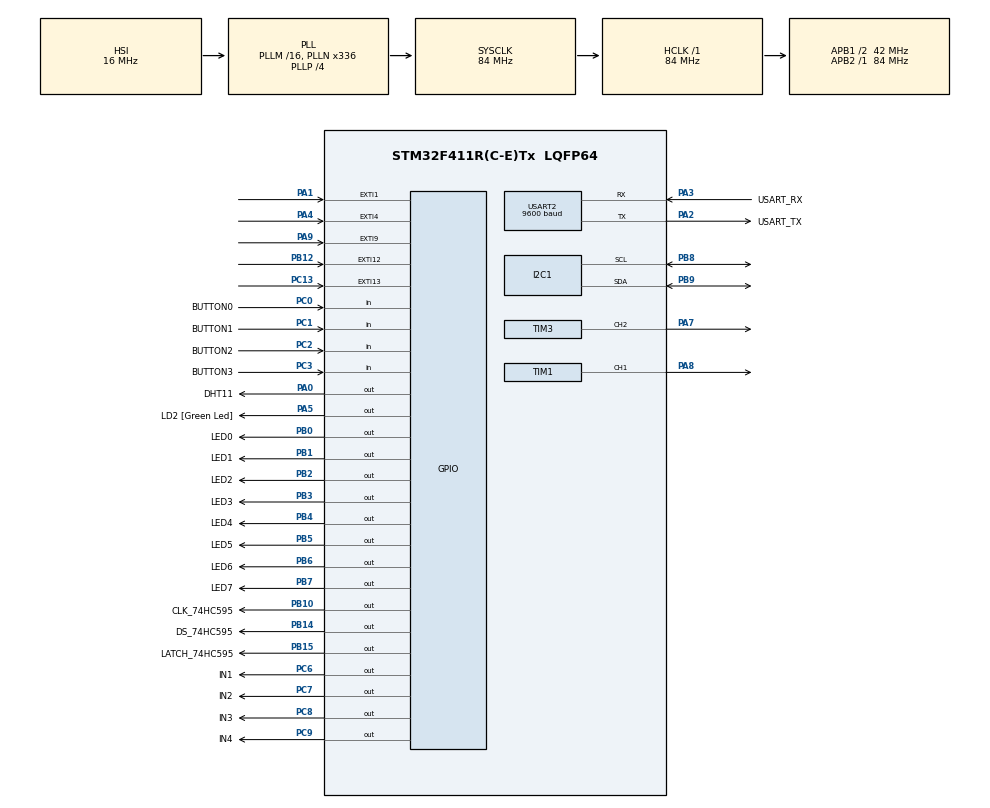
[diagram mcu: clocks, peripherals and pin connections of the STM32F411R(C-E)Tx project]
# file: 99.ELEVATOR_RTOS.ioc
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FREERTOS.Mutexes01=myMutex01,Dynamic,NULL
FREERTOS.Tasks01=defaultTask,24,128,StartDefaultTask,Default,NULL,Dynamic,NULL,NULL;myTask01,8,128,StartTask01,Default,NULL,Dynamic,NULL,NULL;myTask02,8,128,StartTask02,Default,NULL,Dynamic,NULL,NULL
FREERTOS.configUSE_NEWLIB_REENTRANT=1
Mcu.Family=STM32F4
Mcu.Name=STM32F411R(C-E)Tx
Mcu.Package=LQFP64
NVIC.EXTI15_10_IRQn=true\:5\:0\:false\:false\:true\:true\:true\:true
NVIC.EXTI1_IRQn=true\:5\:0\:false\:false\:true\:true\:true\:true
NVIC.EXTI4_IRQn=true\:5\:0\:false\:false\:true\:true\:true\:true
NVIC.EXTI9_5_IRQn=true\:5\:0\:false\:false\:true\:true\:true\:true
NVIC.PriorityGroup=NVIC_PRIORITYGROUP_4
NVIC.TIM1_TRG_COM_TIM11_IRQn=true\:5\:0\:false\:false\:true\:false\:false\:true
NVIC.TIM1_UP_TIM10_IRQn=true\:5\:0\:false\:false\:true\:true\:true\:true
NVIC.TIM3_IRQn=true\:5\:0\:false\:false\:true\:true\:true\:true
NVIC.TimeBase=TIM1_TRG_COM_TIM11_IRQn
NVIC.TimeBaseIP=TIM11
NVIC.USART2_IRQn=true\:5\:0\:false\:false\:true\:true\:true\:true
PA0-WKUP.GPIO_Label=DHT11
PA0-WKUP.Signal=GPIO_Output
PA1.Signal=GPXTI1
PA13.GPIO_Label=TMS
PA13.Mode=Serial_Wire
PA13.Signal=SYS_JTMS-SWDIO
PA14.GPIO_Label=TCK
PA14.Mode=Serial_Wire
PA14.Signal=SYS_JTCK-SWCLK
PA2.GPIO_Label=USART_TX
PA2.Mode=Asynchronous
PA2.Signal=USART2_TX
PA3.GPIO_Label=USART_RX
PA3.Mode=Asynchronous
PA3.Signal=USART2_RX
PA4.Signal=GPXTI4
PA5.GPIO_Label=LD2 [Green Led]
PA5.Signal=GPIO_Output
PA7.Signal=S_TIM3_CH2
PA8.Signal=S_TIM1_CH1
PA9.Signal=GPXTI9
PB0.GPIO_Label=LED0
PB0.Signal=GPIO_Output
PB1.GPIO_Label=LED1
PB1.Signal=GPIO_Output
PB10.GPIO_Label=CLK_74HC595
PB10.Signal=GPIO_Output
PB12.Signal=GPXTI12
PB14.GPIO_Label=DS_74HC595
PB14.Signal=GPIO_Output
PB15.GPIO_Label=LATCH_74HC595
PB15.Signal=GPIO_Output
PB2.GPIO_Label=LED2
PB2.Signal=GPIO_Output
PB3.GPIO_Label=LED3
PB3.Signal=GPIO_Output
PB4.GPIO_Label=LED4
PB4.Signal=GPIO_Output
PB5.GPIO_Label=LED5
PB5.Signal=GPIO_Output
PB6.GPIO_Label=LED6
PB6.Signal=GPIO_Output
PB7.GPIO_Label=LED7
PB7.Signal=GPIO_Output
PB8.Mode=I2C
PB8.Signal=I2C1_SCL
PB9.Mode=I2C
PB9.Signal=I2C1_SDA
PC0.GPIO_Label=BUTTON0
PC0.Signal=GPIO_Input
PC1.GPIO_Label=BUTTON1
PC1.Signal=GPIO_Input
PC13-ANTI_TAMP.GPIO_ModeDefaultEXTI=GPIO_MODE_IT_FALLING
PC13-ANTI_TAMP.Signal=GPXTI13
PC14-OSC32_IN.Mode=LSE-External-Oscillator
PC14-OSC32_IN.Signal=RCC_OSC32_IN
PC15-OSC32_OUT.Mode=LSE-External-Oscillator
PC15-OSC32_OUT.Signal=RCC_OSC32_OUT
PC2.GPIO_Label=BUTTON2
PC2.Signal=GPIO_Input
PC3.GPIO_Label=BUTTON3
PC3.Signal=GPIO_Input
PC6.GPIO_Label=IN1
PC6.Signal=GPIO_Output
PC7.GPIO_Label=IN2
PC7.Signal=GPIO_Output
PC8.GPIO_Label=IN3
PC8.Signal=GPIO_Output
PC9.GPIO_Label=IN4
PC9.Signal=GPIO_Output
PH0\ -\ OSC_IN.Mode=HSE-External-Clock-Source
PH0\ -\ OSC_IN.Signal=RCC_OSC_IN
PH1\ -\ OSC_OUT.Mode=HSE-External-Clock-Source
PH1\ -\ OSC_OUT.Signal=RCC_OSC_OUT
ProjectManager.HeapSize=0x200
ProjectManager.StackSize=0x400
ProjectManager.TargetToolchain=STM32CubeIDE
RCC.48MHZClocksFreq_Value=84000000
RCC.AHBFreq_Value=84000000
RCC.APB1CLKDivider=RCC_HCLK_DIV2
RCC.APB1Freq_Value=42000000
RCC.APB1TimFreq_Value=84000000
RCC.APB2Freq_Value=84000000
RCC.APB2TimFreq_Value=84000000
RCC.CortexFreq_Value=84000000
RCC.FLatency-AdvancedSettings=FLASH_LATENCY_2
RCC.HCLKFreq_Value=84000000
RCC.HSE_VALUE=8000000
RCC.HSI_VALUE=16000000
RCC.PLLN=336
RCC.PLLP=RCC_PLLP_DIV4
RCC.SYSCLKFreq_VALUE=84000000
RCC.SYSCLKSource=RCC_SYSCLKSOURCE_PLLCLK
RCC.VCOOutputFreq_Value=336000000
RTC.Date=8
RTC.Hours=14
RTC.Minutes=37
RTC.Month=RTC_MONTH_OCTOBER
RTC.WeekDay=RTC_WEEKDAY_TUESDAY
RTC.Year=24
SH.S_TIM1_CH1.0=TIM1_CH1,PWM Generation1 CH1
SH.S_TIM3_CH2.0=TIM3_CH2,PWM Generation2 CH2
TIM1.Channel-PWM\ Generation1\ CH1=TIM_CHANNEL_1
TIM1.Period=400-1
TIM1.Prescaler=52.5-1
TIM1.Pulse-PWM\ Generation1\ CH1=200-1
TIM10.Period=1000-1
TIM10.Prescaler=84-1
TIM2.Period=4294967295
TIM2.Prescaler=84-1
TIM3.Channel-PWM\ Generation2\ CH2=TIM_CHANNEL_2
TIM3.Period=1000-1
TIM3.Prescaler=1680-1
USART2.BaudRate=9600
USART2.VirtualMode=VM_ASYNC
VP_FREERTOS_VS_CMSIS_V2.Mode=CMSIS_V2
VP_RTC_VS_RTC_Activate.Mode=RTC_Enabled
VP_RTC_VS_RTC_Calendar.Mode=RTC_Calendar
VP_SYS_VS_tim11.Mode=TIM11
VP_TIM10_VS_ClockSourceINT.Mode=Enable_Timer
VP_TIM1_VS_ClockSourceINT.Mode=Internal
VP_TIM2_VS_ClockSourceINT.Mode=Internal
VP_TIM3_VS_ClockSourceINT.Mode=Internal
board=NUCLEO-F411RE

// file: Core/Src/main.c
/* USER CODE BEGIN Header */
/**
  ******************************************************************************
  * @file           : main.c
  * @brief          : Main program body
  ******************************************************************************
  * @attention
  *
  * <h2><center>&copy; Copyright (c) 2024 STMicroelectronics.
  * All rights reserved.</center></h2>
  *
  * This software component is licensed by ST under BSD 3-Clause license,
  * the "License"; You may not use this file except in compliance with the
  * License. You may obtain a copy of the License at:
  *                        opensource.org/licenses/BSD-3-Clause
  *
  ******************************************************************************
  */
/* USER CODE END Header */
#include "main.h"
#include "cmsis_os.h"

I2C_HandleTypeDef hi2c1;

RTC_HandleTypeDef hrtc;

TIM_HandleTypeDef htim1;
TIM_HandleTypeDef htim2;
TIM_HandleTypeDef htim3;
TIM_HandleTypeDef htim10;

UART_HandleTypeDef huart2;

/* Definitions for defaultTask */
osThreadId_t defaultTaskHandle;
const osThreadAttr_t defaultTask_attributes = {
  .name = "defaultTask",
  .stack_size = 128 * 4,
  .priority = (osPriority_t) osPriorityNormal,
};
/* Definitions for myTask01 */
osThreadId_t myTask01Handle;
const osThreadAttr_t myTask01_attributes = {
  .name = "myTask01",
  .stack_size = 128 * 4,
  .priority = (osPriority_t) osPriorityLow,
};
/* Definitions for myTask02 */
osThreadId_t myTask02Handle;
const osThreadAttr_t myTask02_attributes = {
  .name = "myTask02",
  .stack_size = 128 * 4,
  .priority = (osPriority_t) osPriorityLow,
};
/* Definitions for myMutex01 */
osMutexId_t myMutex01Handle;
const osMutexAttr_t myMutex01_attributes = {
  .name = "myMutex01"
};
/* USER CODE BEGIN PV */
volatile int TIM10_1ms_counter = 0; //ADD_HAESUNG_09.30
volatile int TIM10_1ms_counter1 = 0;
volatile int TIM10_DHT11_counter = 0; // 10.08
volatile int TIM10_servo_motor_counter = 0; //10.17
uint8_t rx_data;
/* USER CODE END PV */

void SystemClock_Config(void);
static void MX_GPIO_Init(void);
static void MX_USART2_UART_Init(void);
static void MX_TIM10_Init(void);
static void MX_TIM2_Init(void);
static void MX_RTC_Init(void);
static void MX_I2C1_Init(void);
static void MX_TIM3_Init(void);
static void MX_TIM1_Init(void);
void StartDefaultTask(void *argument);
void StartTask01(void *argument);
void StartTask02(void *argument);

/* USER CODE BEGIN PFP */
extern void led_main(void);
extern void ledbar0_toggle(void);
extern void button_check(void);
extern void button_up(void);
extern void button0_test(void);
extern void button1_test(void);
extern void button2_test(void);
extern void pc_command_processing(void); //10.07
extern void delay_us(unsigned int us); //10.08
extern void DHT11_main(void); //10.08
extern void DHT11_processing(void); //10.08
extern void DHT11_Init(void); //10.08
extern void get_rtc_date_time(void); //10.08
extern void i2c_lcd_main(void); //10.10
extern void i2c_lcd_init(void); //10.10
extern void dotmatrix_main_test(); //10.14 //10.17
extern int dotmatrix_main_func(void); //10.14
extern void init_dotmatrix(void); //10.14
extern void dotmatrix_off(); //10.14
extern void up_arrow_display(void); //10.14
extern void down_arrow_display(void); //10.14
extern void button0_check(void); //10.14
extern void stepmotor_main(void); //10.15
extern void dot_dis_main(void); //10.15
extern void servo_motor_main(void); //10.17
extern void servo_motor_control(void); //10.17
extern void buzzer_main(); //10.17
extern void get_rtc_date(void); //10.18
extern void get_rtc_time(void); //10.18
//extern void init_dotmatrix_arrow(void);

extern void forward_step(void);
extern void backward_step(void);

extern void button0_check0(void);
extern void button1_check(void);
extern void button2_check(void);
extern void ele_move(void);
extern void dot_floor(void);

extern void ELEVATOR_TASK();
extern void ELEVATOR_TASK2();
extern void toggle_elevator();

/* USER CODE END PFP */

/* USER CODE BEGIN 0 */
//------------ printf start -----------------------
#ifdef __GNUC__    // Add for printf
/* With GCC, small printf (option LD Linker->Libraries->Small printf
   set to 'Yes') calls __io_putchar() */
#define PUTCHAR_PROTOTYPE int __io_putchar(int ch)
#else
#define PUTCHAR_PROTOTYPE int fputc(int ch, FILE *f)
#endif /* __GNUC__ */
/**
  * @brief  Retargets the C library printf function to the USART.
  * @param  None
  * @retval None
  */
PUTCHAR_PROTOTYPE   // Add for printf
{
  /* Place your implementation of fputc here */
  /* e.g. write a character to the USART2 and Loop until the end of transmission */
  HAL_UART_Transmit(&huart2, (uint8_t *)&ch, 1, 0xFFFF);

  return ch;
}
//-------------------- printf end --------------------
/* USER CODE END 0 */

int main(void)
{

  /* MCU Configuration--------------------------------------------------------*/

  /* Reset of all peripherals, Initializes the Flash interface and the Systick. */
  HAL_Init();

  /* Configure the system clock */
  SystemClock_Config();

  /* Initialize all configured peripherals */
  MX_GPIO_Init();
  MX_USART2_UART_Init();
  MX_TIM10_Init();
  MX_TIM2_Init();
  MX_RTC_Init();
  MX_I2C1_Init();
  MX_TIM3_Init();
  MX_TIM1_Init();
  /* USER CODE BEGIN 2 */
  HAL_TIM_Base_Start_IT(&htim10); //ADD_HAESUNG_0930
  HAL_TIM_Base_Start_IT(&htim2); //ADD_HAESUNG_1008
  HAL_UART_Receive_IT(&huart2, &rx_data, 1); //ADD_HAESUNG_1007
  HAL_TIM_PWM_Start(&htim3, TIM_CHANNEL_2); //ADD_HAESUNG_1017 SERVO MOTOR PWM TIMER
  //HAL_TIM_PWM_Start(&htim1, TIM_CHANNEL_1); //10.17
  //DHT11_Init();
  i2c_lcd_init();
  //buzzer_main();

  //dotmatrix_off();
  init_dotmatrix();

  //init_dotmatrix_arrow();
  //printf("HAL_TIM_Base_Start_IT !!!!\n");
  //DHT11_main(); //10.08
  //led_main();
  //dotmatrix_main_test();
  //i2c_lcd_main();
  //stepmotor_main();
  //dotmatrix_main_test();

  /* USER CODE END 2 */

  /* Init scheduler */
  osKernelInitialize();
  /* Create the mutex(es) */
  /* creation of myMutex01 */
  myMutex01Handle = osMutexNew(&myMutex01_attributes);

  /* Create the thread(s) */
  /* creation of defaultTask */
  defaultTaskHandle = osThreadNew(StartDefaultTask, NULL, &defaultTask_attributes);

  /* creation of myTask01 */
  myTask01Handle = osThreadNew(StartTask01, NULL, &myTask01_attributes);

  /* creation of myTask02 */
  myTask02Handle = osThreadNew(StartTask02, NULL, &myTask02_attributes);

  /* Start scheduler */
  osKernelStart();

  /* We should never get here as control is now taken by the scheduler */
  /* Infinite loop */
  /* USER CODE BEGIN WHILE */
  while (1)
  {
	  // none-OS loop monitor
	  HAL_GPIO_TogglePin(GPIOA, GPIO_PIN_5);
	  HAL_Delay(500);
    /* USER CODE END WHILE */

  }
}

void SystemClock_Config(void)
{
  RCC_OscInitTypeDef RCC_OscInitStruct = {0};
  RCC_ClkInitTypeDef RCC_ClkInitStruct = {0};

  /** Configure the main internal regulator output voltage
  */
  __HAL_RCC_PWR_CLK_ENABLE();
  __HAL_PWR_VOLTAGESCALING_CONFIG(PWR_REGULATOR_VOLTAGE_SCALE1);
  /** Initializes the RCC Oscillators according to the specified parameters
  * in the RCC_OscInitTypeDef structure.
  */
  RCC_OscInitStruct.OscillatorType = RCC_OSCILLATORTYPE_HSI|RCC_OSCILLATORTYPE_LSI;
  RCC_OscInitStruct.HSIState = RCC_HSI_ON;
  RCC_OscInitStruct.HSICalibrationValue = RCC_HSICALIBRATION_DEFAULT;
  RCC_OscInitStruct.LSIState = RCC_LSI_ON;
  RCC_OscInitStruct.PLL.PLLState = RCC_PLL_ON;
  RCC_OscInitStruct.PLL.PLLSource = RCC_PLLSOURCE_HSI;
  RCC_OscInitStruct.PLL.PLLM = 16;
  RCC_OscInitStruct.PLL.PLLN = 336;
  RCC_OscInitStruct.PLL.PLLP = RCC_PLLP_DIV4;
  RCC_OscInitStruct.PLL.PLLQ = 4;
  if (HAL_RCC_OscConfig(&RCC_OscInitStruct) != HAL_OK)
  {
    Error_Handler();
  }
  /** Initializes the CPU, AHB and APB buses clocks
  */
  RCC_ClkInitStruct.ClockType = RCC_CLOCKTYPE_HCLK|RCC_CLOCKTYPE_SYSCLK
                              |RCC_CLOCKTYPE_PCLK1|RCC_CLOCKTYPE_PCLK2;
  RCC_ClkInitStruct.SYSCLKSource = RCC_SYSCLKSOURCE_PLLCLK;
  RCC_ClkInitStruct.AHBCLKDivider = RCC_SYSCLK_DIV1;
  RCC_ClkInitStruct.APB1CLKDivider = RCC_HCLK_DIV2;
  RCC_ClkInitStruct.APB2CLKDivider = RCC_HCLK_DIV1;

  if (HAL_RCC_ClockConfig(&RCC_ClkInitStruct, FLASH_LATENCY_2) != HAL_OK)
  {
    Error_Handler();
  }
}

static void MX_I2C1_Init(void)
{

  hi2c1.Instance = I2C1;
  hi2c1.Init.ClockSpeed = 100000;
  hi2c1.Init.DutyCycle = I2C_DUTYCYCLE_2;
  hi2c1.Init.OwnAddress1 = 0;
  hi2c1.Init.AddressingMode = I2C_ADDRESSINGMODE_7BIT;
  hi2c1.Init.DualAddressMode = I2C_DUALADDRESS_DISABLE;
  hi2c1.Init.OwnAddress2 = 0;
  hi2c1.Init.GeneralCallMode = I2C_GENERALCALL_DISABLE;
  hi2c1.Init.NoStretchMode = I2C_NOSTRETCH_DISABLE;
  if (HAL_I2C_Init(&hi2c1) != HAL_OK)
  {
    Error_Handler();
  }

}

static void MX_RTC_Init(void)
{

  RTC_TimeTypeDef sTime = {0};
  RTC_DateTypeDef sDate = {0};

  /** Initialize RTC Only
  */
  hrtc.Instance = RTC;
  hrtc.Init.HourFormat = RTC_HOURFORMAT_24;
  hrtc.Init.AsynchPrediv = 127;
  hrtc.Init.SynchPrediv = 255;
  hrtc.Init.OutPut = RTC_OUTPUT_DISABLE;
  hrtc.Init.OutPutPolarity = RTC_OUTPUT_POLARITY_HIGH;
  hrtc.Init.OutPutType = RTC_OUTPUT_TYPE_OPENDRAIN;
  if (HAL_RTC_Init(&hrtc) != HAL_OK)
  {
    Error_Handler();
  }

  /** Initialize RTC and set the Time and Date
  */
  sTime.Hours = 0x14;
  sTime.Minutes = 0x37;
  sTime.Seconds = 0x0;
  sTime.DayLightSaving = RTC_DAYLIGHTSAVING_NONE;
  sTime.StoreOperation = RTC_STOREOPERATION_RESET;
  if (HAL_RTC_SetTime(&hrtc, &sTime, RTC_FORMAT_BCD) != HAL_OK)
  {
    Error_Handler();
  }
  sDate.WeekDay = RTC_WEEKDAY_TUESDAY;
  sDate.Month = RTC_MONTH_OCTOBER;
  sDate.Date = 0x8;
  sDate.Year = 0x24;

  if (HAL_RTC_SetDate(&hrtc, &sDate, RTC_FORMAT_BCD) != HAL_OK)
  {
    Error_Handler();
  }

}

static void MX_TIM1_Init(void)
{

  TIM_ClockConfigTypeDef sClockSourceConfig = {0};
  TIM_MasterConfigTypeDef sMasterConfig = {0};
  TIM_OC_InitTypeDef sConfigOC = {0};
  TIM_BreakDeadTimeConfigTypeDef sBreakDeadTimeConfig = {0};

  htim1.Instance = TIM1;
  htim1.Init.Prescaler = 52.5-1;
  htim1.Init.CounterMode = TIM_COUNTERMODE_UP;
  htim1.Init.Period = 400-1;
  htim1.Init.ClockDivision = TIM_CLOCKDIVISION_DIV1;
  htim1.Init.RepetitionCounter = 0;
  htim1.Init.AutoReloadPreload = TIM_AUTORELOAD_PRELOAD_DISABLE;
  if (HAL_TIM_Base_Init(&htim1) != HAL_OK)
  {
    Error_Handler();
  }
  sClockSourceConfig.ClockSource = TIM_CLOCKSOURCE_INTERNAL;
  if (HAL_TIM_ConfigClockSource(&htim1, &sClockSourceConfig) != HAL_OK)
  {
    Error_Handler();
  }
  if (HAL_TIM_PWM_Init(&htim1) != HAL_OK)
  {
    Error_Handler();
  }
  sMasterConfig.MasterOutputTrigger = TIM_TRGO_RESET;
  sMasterConfig.MasterSlaveMode = TIM_MASTERSLAVEMODE_DISABLE;
  if (HAL_TIMEx_MasterConfigSynchronization(&htim1, &sMasterConfig) != HAL_OK)
  {
    Error_Handler();
  }
  sConfigOC.OCMode = TIM_OCMODE_PWM1;
  sConfigOC.Pulse = 200-1;
  sConfigOC.OCPolarity = TIM_OCPOLARITY_HIGH;
  sConfigOC.OCNPolarity = TIM_OCNPOLARITY_HIGH;
  sConfigOC.OCFastMode = TIM_OCFAST_DISABLE;
  sConfigOC.OCIdleState = TIM_OCIDLESTATE_RESET;
  sConfigOC.OCNIdleState = TIM_OCNIDLESTATE_RESET;
  if (HAL_TIM_PWM_ConfigChannel(&htim1, &sConfigOC, TIM_CHANNEL_1) != HAL_OK)
  {
    Error_Handler();
  }
  sBreakDeadTimeConfig.OffStateRunMode = TIM_OSSR_DISABLE;
  sBreakDeadTimeConfig.OffStateIDLEMode = TIM_OSSI_DISABLE;
  sBreakDeadTimeConfig.LockLevel = TIM_LOCKLEVEL_OFF;
  sBreakDeadTimeConfig.DeadTime = 0;
  sBreakDeadTimeConfig.BreakState = TIM_BREAK_DISABLE;
  sBreakDeadTimeConfig.BreakPolarity = TIM_BREAKPOLARITY_HIGH;
  sBreakDeadTimeConfig.AutomaticOutput = TIM_AUTOMATICOUTPUT_DISABLE;
  if (HAL_TIMEx_ConfigBreakDeadTime(&htim1, &sBreakDeadTimeConfig) != HAL_OK)
  {
    Error_Handler();
  }
  HAL_TIM_MspPostInit(&htim1);

}

static void MX_TIM2_Init(void)
{

  TIM_ClockConfigTypeDef sClockSourceConfig = {0};
  TIM_MasterConfigTypeDef sMasterConfig = {0};

  htim2.Instance = TIM2;
  htim2.Init.Prescaler = 84-1;
  htim2.Init.CounterMode = TIM_COUNTERMODE_UP;
  htim2.Init.Period = 4294967295;
  htim2.Init.ClockDivision = TIM_CLOCKDIVISION_DIV1;
  htim2.Init.AutoReloadPreload = TIM_AUTORELOAD_PRELOAD_DISABLE;
  if (HAL_TIM_Base_Init(&htim2) != HAL_OK)
  {
    Error_Handler();
  }
  sClockSourceConfig.ClockSource = TIM_CLOCKSOURCE_INTERNAL;
  if (HAL_TIM_ConfigClockSource(&htim2, &sClockSourceConfig) != HAL_OK)
  {
    Error_Handler();
  }
  sMasterConfig.MasterOutputTrigger = TIM_TRGO_RESET;
  sMasterConfig.MasterSlaveMode = TIM_MASTERSLAVEMODE_DISABLE;
  if (HAL_TIMEx_MasterConfigSynchronization(&htim2, &sMasterConfig) != HAL_OK)
  {
    Error_Handler();
  }

}

static void MX_TIM3_Init(void)
{

  TIM_ClockConfigTypeDef sClockSourceConfig = {0};
  TIM_MasterConfigTypeDef sMasterConfig = {0};
  TIM_OC_InitTypeDef sConfigOC = {0};

  htim3.Instance = TIM3;
  htim3.Init.Prescaler = 1680-1;
  htim3.Init.CounterMode = TIM_COUNTERMODE_UP;
  htim3.Init.Period = 1000-1;
  htim3.Init.ClockDivision = TIM_CLOCKDIVISION_DIV1;
  htim3.Init.AutoReloadPreload = TIM_AUTORELOAD_PRELOAD_DISABLE;
  if (HAL_TIM_Base_Init(&htim3) != HAL_OK)
  {
    Error_Handler();
  }
  sClockSourceConfig.ClockSource = TIM_CLOCKSOURCE_INTERNAL;
  if (HAL_TIM_ConfigClockSource(&htim3, &sClockSourceConfig) != HAL_OK)
  {
    Error_Handler();
  }
  if (HAL_TIM_PWM_Init(&htim3) != HAL_OK)
  {
    Error_Handler();
  }
  sMasterConfig.MasterOutputTrigger = TIM_TRGO_RESET;
  sMasterConfig.MasterSlaveMode = TIM_MASTERSLAVEMODE_DISABLE;
  if (HAL_TIMEx_MasterConfigSynchronization(&htim3, &sMasterConfig) != HAL_OK)
  {
    Error_Handler();
  }
  sConfigOC.OCMode = TIM_OCMODE_PWM1;
  sConfigOC.Pulse = 0;
  sConfigOC.OCPolarity = TIM_OCPOLARITY_HIGH;
  sConfigOC.OCFastMode = TIM_OCFAST_DISABLE;
  if (HAL_TIM_PWM_ConfigChannel(&htim3, &sConfigOC, TIM_CHANNEL_2) != HAL_OK)
  {
    Error_Handler();
  }
  HAL_TIM_MspPostInit(&htim3);

}

static void MX_TIM10_Init(void)
{

  htim10.Instance = TIM10;
  htim10.Init.Prescaler = 84-1;
  htim10.Init.CounterMode = TIM_COUNTERMODE_UP;
  htim10.Init.Period = 1000-1;
  htim10.Init.ClockDivision = TIM_CLOCKDIVISION_DIV1;
  htim10.Init.AutoReloadPreload = TIM_AUTORELOAD_PRELOAD_DISABLE;
  if (HAL_TIM_Base_Init(&htim10) != HAL_OK)
  {
    Error_Handler();
  }

}

static void MX_USART2_UART_Init(void)
{

  huart2.Instance = USART2;
  huart2.Init.BaudRate = 9600;
  huart2.Init.WordLength = UART_WORDLENGTH_8B;
  huart2.Init.StopBits = UART_STOPBITS_1;
  huart2.Init.Parity = UART_PARITY_NONE;
  huart2.Init.Mode = UART_MODE_TX_RX;
  huart2.Init.HwFlowCtl = UART_HWCONTROL_NONE;
  huart2.Init.OverSampling = UART_OVERSAMPLING_16;
  if (HAL_UART_Init(&huart2) != HAL_OK)
  {
    Error_Handler();
  }

}

static void MX_GPIO_Init(void)
{
  GPIO_InitTypeDef GPIO_InitStruct = {0};

  /* GPIO Ports Clock Enable */
  __HAL_RCC_GPIOC_CLK_ENABLE();
  __HAL_RCC_GPIOH_CLK_ENABLE();
  __HAL_RCC_GPIOA_CLK_ENABLE();
  __HAL_RCC_GPIOB_CLK_ENABLE();

  /*Configure GPIO pin Output Level */
  HAL_GPIO_WritePin(GPIOA, DHT11_Pin|LD2_Pin, GPIO_PIN_RESET);

  /*Configure GPIO pin Output Level */
  HAL_GPIO_WritePin(GPIOB, LED0_Pin|LED1_Pin|LED2_Pin|CLK_74HC595_Pin
                          |DS_74HC595_Pin|LATCH_74HC595_Pin|LED3_Pin|LED4_Pin
                          |LED5_Pin|LED6_Pin|LED7_Pin, GPIO_PIN_RESET);

  /*Configure GPIO pin Output Level */
  HAL_GPIO_WritePin(GPIOC, IN1_Pin|IN2_Pin|IN3_Pin|IN4_Pin, GPIO_PIN_RESET);

  /*Configure GPIO pin : PC13 */
  GPIO_InitStruct.Pin = GPIO_PIN_13;
  GPIO_InitStruct.Mode = GPIO_MODE_IT_FALLING;
  GPIO_InitStruct.Pull = GPIO_NOPULL;
  HAL_GPIO_Init(GPIOC, &GPIO_InitStruct);

  /*Configure GPIO pins : BUTTON0_Pin BUTTON1_Pin BUTTON2_Pin BUTTON3_Pin */
  GPIO_InitStruct.Pin = BUTTON0_Pin|BUTTON1_Pin|BUTTON2_Pin|BUTTON3_Pin;
  GPIO_InitStruct.Mode = GPIO_MODE_INPUT;
  GPIO_InitStruct.Pull = GPIO_NOPULL;
  HAL_GPIO_Init(GPIOC, &GPIO_InitStruct);

  /*Configure GPIO pins : DHT11_Pin LD2_Pin */
  GPIO_InitStruct.Pin = DHT11_Pin|LD2_Pin;
  GPIO_InitStruct.Mode = GPIO_MODE_OUTPUT_PP;
  GPIO_InitStruct.Pull = GPIO_NOPULL;
  GPIO_InitStruct.Speed = GPIO_SPEED_FREQ_LOW;
  HAL_GPIO_Init(GPIOA, &GPIO_InitStruct);

  /*Configure GPIO pins : PA1 PA4 PA9 */
  GPIO_InitStruct.Pin = GPIO_PIN_1|GPIO_PIN_4|GPIO_PIN_9;
  GPIO_InitStruct.Mode = GPIO_MODE_IT_RISING;
  GPIO_InitStruct.Pull = GPIO_NOPULL;
  HAL_GPIO_Init(GPIOA, &GPIO_InitStruct);

  /*Configure GPIO pins : LED0_Pin LED1_Pin LED2_Pin CLK_74HC595_Pin
                           DS_74HC595_Pin LATCH_74HC595_Pin LED3_Pin LED4_Pin
                           LED5_Pin LED6_Pin LED7_Pin */
  GPIO_InitStruct.Pin = LED0_Pin|LED1_Pin|LED2_Pin|CLK_74HC595_Pin
                          |DS_74HC595_Pin|LATCH_74HC595_Pin|LED3_Pin|LED4_Pin
                          |LED5_Pin|LED6_Pin|LED7_Pin;
  GPIO_InitStruct.Mode = GPIO_MODE_OUTPUT_PP;
  GPIO_InitStruct.Pull = GPIO_NOPULL;
  GPIO_InitStruct.Speed = GPIO_SPEED_FREQ_LOW;
  HAL_GPIO_Init(GPIOB, &GPIO_InitStruct);

  /*Configure GPIO pin : PB12 */
  GPIO_InitStruct.Pin = GPIO_PIN_12;
  GPIO_InitStruct.Mode = GPIO_MODE_IT_RISING;
  GPIO_InitStruct.Pull = GPIO_NOPULL;
  HAL_GPIO_Init(GPIOB, &GPIO_InitStruct);

  /*Configure GPIO pins : IN1_Pin IN2_Pin IN3_Pin IN4_Pin */
  GPIO_InitStruct.Pin = IN1_Pin|IN2_Pin|IN3_Pin|IN4_Pin;
  GPIO_InitStruct.Mode = GPIO_MODE_OUTPUT_PP;
  GPIO_InitStruct.Pull = GPIO_NOPULL;
  GPIO_InitStruct.Speed = GPIO_SPEED_FREQ_LOW;
  HAL_GPIO_Init(GPIOC, &GPIO_InitStruct);

  /* EXTI interrupt init*/
  HAL_NVIC_SetPriority(EXTI1_IRQn, 5, 0);
  HAL_NVIC_EnableIRQ(EXTI1_IRQn);

  HAL_NVIC_SetPriority(EXTI4_IRQn, 5, 0);
  HAL_NVIC_EnableIRQ(EXTI4_IRQn);

  HAL_NVIC_SetPriority(EXTI9_5_IRQn, 5, 0);
  HAL_NVIC_EnableIRQ(EXTI9_5_IRQn);

  HAL_NVIC_SetPriority(EXTI15_10_IRQn, 5, 0);
  HAL_NVIC_EnableIRQ(EXTI15_10_IRQn);

}

void StartDefaultTask(void *argument)
{
  /* USER CODE BEGIN 5 */
  /* Infinite loop */
  for(;;)
  {

	//led_main();
	//button0_test();
	//button0_check();
	//dotmatrix_off();
	//up_arrow_display();
	//stepmotor_main();
	//forward_step();
	//backward_step();
	//move_elevator();

	  	  //button3_Check();
    osDelay(1);

  }
  /* USER CODE END 5 */
}

void StartTask01(void *argument)
{
  /* USER CODE BEGIN StartTask01 */
  /* Infinite loop */
  for(;;)
  {
	  ELEVATOR_TASK();
	  if(osMutexWait(myMutex01Handle, 1000) == osOK) //LOCK?�� 건다
	  {
		  //LOCK?�� 걸린 ?��?��
		  get_rtc_time();

		  osMutexRelease(myMutex01Handle); //UNLOCK : ?��?���???? ??�???? 반납?��?��. ?���???? TASK�???? ?�� ?�� ?��?���???? Switch
		  //?�� ?��?��?? 컨텍?��?�� ?��?���?????�� 발생?���???? ?��?��
 	  }
	  osDelay(1);
  }
  /* USER CODE END StartTask01 */
}

void StartTask02(void *argument)
{
  /* USER CODE BEGIN StartTask02 */
  /* Infinite loop */
  for(;;)
  {
	  ELEVATOR_TASK2();

	  if(osMutexWait(myMutex01Handle, 1000) == osOK) //LOCK?�� 건다 //10.18 // I2CLCD Protocol?�� 꼬임 방�?�???? ?��?�� mutex ?��?��
	  {
		  //LOCK?�� 걸린 ?��?��
		  get_rtc_date();

		  osMutexRelease(myMutex01Handle); //UNLOCK : ?��?���???? ??�???? 반납?��?��. ?���???? TASK�???? ?�� ?�� ?��?���???? Switch
		  //?�� ?��?��?? 컨텍?��?�� ?��?���?????�� 발생?���???? ?��?��
	  }
	  osDelay(1);
  }
  /* USER CODE END StartTask02 */
}

void HAL_TIM_PeriodElapsedCallback(TIM_HandleTypeDef *htim)
{
  if (htim->Instance == TIM11) {
    HAL_IncTick();
  }
  /* USER CODE BEGIN Callback 1 */
  if (htim->Instance == TIM10) {
	  TIM10_1ms_counter++; //ADD_HAESUNG_0930
	  TIM10_1ms_counter1++;
	  TIM10_DHT11_counter++;
	  TIM10_servo_motor_counter++;
  }

  /* USER CODE END Callback 1 */
}

void Error_Handler(void)
{
  __disable_irq();
  while (1)
  {
  }
}

/************************ (C) COPYRIGHT STMicroelectronics *****END OF FILE****/
